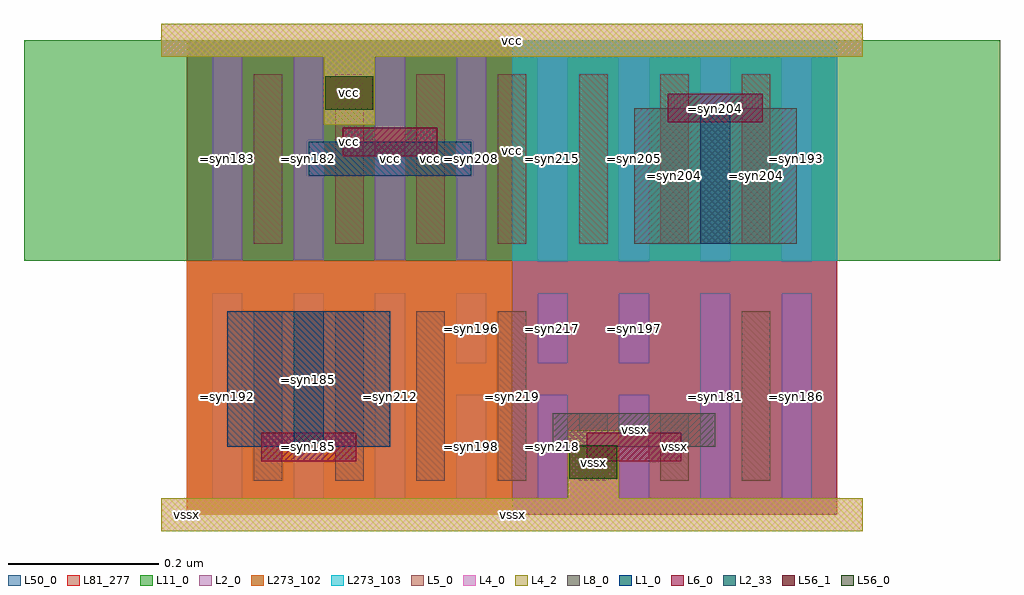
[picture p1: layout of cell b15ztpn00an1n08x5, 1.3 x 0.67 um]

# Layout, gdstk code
import gdstk
lib = gdstk.Library(unit=1e-6, precision=5e-10)
def R(c, l, rs):  # rectangles x0, y0, x1, y1
    for r in rs: c.add(gdstk.rectangle(r[:2], r[2:], *l))
def A(c, l, x, y, w, h, nx, ny, dx, dy):  # array of equal rectangles
    R(c, l, [(x+i*dx, y+j*dy, x+i*dx+w, y+j*dy+h) for i in range(nx) for j in range(ny)])
def P(c, l, *ps):  # polygons
    for p in ps: c.add(gdstk.Polygon(p, *l))
L1_0 = (1, 0)
L2_0 = (2, 0)
L2_33 = (2, 33)
L4_0 = (4, 0)
L4_2 = (4, 2)
L5_0 = (5, 0)
L6_0 = (6, 0)
L8_0 = (8, 0)
L11_0 = (11, 0)
L50_0 = (50, 0)
L56_0 = (56, 0)
L56_1 = (56, 1)
L81_277 = (81, 277)
L273_102 = (273, 102)
L273_103 = (273, 103)

b15ztpn00an1n08x5 = lib.new_cell('b15ztpn00an1n08x5')
R(b15ztpn00an1n08x5, L1_0, [(0.054,0.09,0.27,0.27), (0.162,0.45,0.378,0.495)])
A(b15ztpn00an1n08x5, L2_0, 0.034, 0.021, 0.04, 0.273, 3, 1, 0.108, 0)
A(b15ztpn00an1n08x5, L2_0, 0.358, 0.021, 0.04, 0.138, 3, 1, 0.108, 0)
A(b15ztpn00an1n08x5, L2_0, 0.358, 0.201, 0.04, 0.093, 3, 1, 0.108, 0)
A(b15ztpn00an1n08x5, L2_0, 0.034, 0.336, 0.04, 0.273, 8, 1, 0.108, 0)
R(b15ztpn00an1n08x5, L2_0, [(0.682,0.021,0.722,0.294), (0.79,0.021,0.83,0.294)])
R(b15ztpn00an1n08x5, L2_33, [(0.142,0.09,0.182,0.27), (0.682,0.36,0.722,0.54)])
P(b15ztpn00an1n08x5, L4_0, [(0.898,0.608),(0.25,0.608),(0.25,0.518),(0.182,0.518),(0.182,0.608),(-0.034,0.608),(-0.034,0.652),(0.898,0.652)],
  [(0.898,-0.022),(-0.034,-0.022),(-0.034,0.022),(0.506,0.022),(0.506,0.112),(0.574,0.112),(0.574,0.022),(0.898,0.022)])
P(b15ztpn00an1n08x5, L4_2, [(0.898,0.608),(0.25,0.608),(0.25,0.518),(0.182,0.518),(0.182,0.608),(-0.034,0.608),(-0.034,0.652),(0.898,0.652)],
  [(0.898,-0.022),(-0.034,-0.022),(-0.034,0.022),(0.506,0.022),(0.506,0.112),(0.574,0.112),(0.574,0.022),(0.898,0.022)])
A(b15ztpn00an1n08x5, L5_0, 0.089, 0.045, 0.038, 0.225, 4, 1, 0.108, 0)
A(b15ztpn00an1n08x5, L5_0, 0.089, 0.36, 0.038, 0.225, 7, 1, 0.108, 0)
R(b15ztpn00an1n08x5, L5_0, [(0.521,0.045,0.559,0.135), (0.629,0.045,0.667,0.135), (0.737,0.045,0.775,0.27)])
R(b15ztpn00an1n08x5, L6_0, [(0.099,0.071,0.225,0.109), (0.531,0.071,0.657,0.109), (0.207,0.476,0.333,0.514), (0.639,0.521,0.765,0.559)])
R(b15ztpn00an1n08x5, L8_0, [(0.486,0.09,0.702,0.135), (0.594,0.36,0.81,0.54)])
R(b15ztpn00an1n08x5, L11_0, [(-0.216,0.3375,1.08,0.63)])
R(b15ztpn00an1n08x5, L50_0, [(0,0,0.864,0.63)])
R(b15ztpn00an1n08x5, L56_0, [(0.508,0.048,0.572,0.092), (0.184,0.538,0.248,0.582)])
R(b15ztpn00an1n08x5, L56_1, [(0.508,0.048,0.572,0.092), (0.184,0.538,0.248,0.582)])
R(b15ztpn00an1n08x5, L81_277, [(0,0,0.864,0.63)])
R(b15ztpn00an1n08x5, L273_102, [(0,0,0.432,0.3375)])
R(b15ztpn00an1n08x5, L273_103, [(0.432,0.3375,0.864,0.63)])
b15ztpn00an1n08x5.add(gdstk.Label('vssx', (0,0), layer=81, texttype=6))
b15ztpn00an1n08x5.add(gdstk.Label('vcc', (0.216,0.56), layer=56, texttype=1))
b15ztpn00an1n08x5.add(gdstk.Label('vssx', (0.54,0.07), layer=56, texttype=1))
b15ztpn00an1n08x5.add(gdstk.Label('vcc', (0.432,0.484), layer=11, texttype=0))
b15ztpn00an1n08x5.add(gdstk.Label('=syn204', (0.756,0.45), layer=8, texttype=0))
b15ztpn00an1n08x5.add(gdstk.Label('vcc', (0.432,0.63), layer=4, texttype=0))
b15ztpn00an1n08x5.add(gdstk.Label('vssx', (0.432,0), layer=4, texttype=0))
b15ztpn00an1n08x5.add(gdstk.Label('vcc', (0.216,0.563), layer=4, texttype=2))
b15ztpn00an1n08x5.add(gdstk.Label('vssx', (0.54,0.067), layer=4, texttype=2))
b15ztpn00an1n08x5.add(gdstk.Label('=syn183', (0.054,0.4725), layer=2, texttype=0))
b15ztpn00an1n08x5.add(gdstk.Label('=syn192', (0.054,0.1575), layer=2, texttype=0))
b15ztpn00an1n08x5.add(gdstk.Label('=syn182', (0.162,0.4725), layer=2, texttype=0))
b15ztpn00an1n08x5.add(gdstk.Label('=syn185', (0.162,0.18), layer=2, texttype=0))
b15ztpn00an1n08x5.add(gdstk.Label('vcc', (0.27,0.4725), layer=2, texttype=0))
b15ztpn00an1n08x5.add(gdstk.Label('=syn212', (0.27,0.1575), layer=2, texttype=0))
b15ztpn00an1n08x5.add(gdstk.Label('=syn208', (0.378,0.4725), layer=2, texttype=0))
b15ztpn00an1n08x5.add(gdstk.Label('=syn196', (0.378,0.2475), layer=2, texttype=0))
b15ztpn00an1n08x5.add(gdstk.Label('=syn198', (0.378,0.09), layer=2, texttype=0))
b15ztpn00an1n08x5.add(gdstk.Label('=syn215', (0.486,0.4725), layer=2, texttype=0))
b15ztpn00an1n08x5.add(gdstk.Label('=syn217', (0.486,0.2475), layer=2, texttype=0))
b15ztpn00an1n08x5.add(gdstk.Label('=syn218', (0.486,0.09), layer=2, texttype=0))
b15ztpn00an1n08x5.add(gdstk.Label('=syn205', (0.594,0.4725), layer=2, texttype=0))
b15ztpn00an1n08x5.add(gdstk.Label('=syn197', (0.594,0.2475), layer=2, texttype=0))
b15ztpn00an1n08x5.add(gdstk.Label('vssx', (0.594,0.1125), layer=2, texttype=0))
b15ztpn00an1n08x5.add(gdstk.Label('=syn204', (0.702,0.45), layer=2, texttype=0))
b15ztpn00an1n08x5.add(gdstk.Label('=syn181', (0.702,0.1575), layer=2, texttype=0))
b15ztpn00an1n08x5.add(gdstk.Label('=syn193', (0.81,0.4725), layer=2, texttype=0))
b15ztpn00an1n08x5.add(gdstk.Label('=syn186', (0.81,0.1575), layer=2, texttype=0))
b15ztpn00an1n08x5.add(gdstk.Label('=syn185', (0.216,0.18), layer=1, texttype=0))
b15ztpn00an1n08x5.add(gdstk.Label('=syn185', (0.162,0.09), layer=6, texttype=0))
b15ztpn00an1n08x5.add(gdstk.Label('vcc', (0.216,0.495), layer=6, texttype=0))
b15ztpn00an1n08x5.add(gdstk.Label('vssx', (0.54,0.09), layer=6, texttype=0))
b15ztpn00an1n08x5.add(gdstk.Label('=syn204', (0.702,0.54), layer=6, texttype=0))
b15ztpn00an1n08x5.add(gdstk.Label('=syn187', (0.108,0.4725), layer=5, texttype=0))
b15ztpn00an1n08x5.add(gdstk.Label('=syn185', (0.108,0.18), layer=5, texttype=0))
b15ztpn00an1n08x5.add(gdstk.Label('vcc', (0.216,0.495), layer=5, texttype=0))
b15ztpn00an1n08x5.add(gdstk.Label('=syn185', (0.216,0.18), layer=5, texttype=0))
b15ztpn00an1n08x5.add(gdstk.Label('vcc', (0.324,0.4725), layer=5, texttype=0))
b15ztpn00an1n08x5.add(gdstk.Label('=syn213', (0.324,0.1575), layer=5, texttype=0))
b15ztpn00an1n08x5.add(gdstk.Label('=syn216', (0.432,0.4725), layer=5, texttype=0))
b15ztpn00an1n08x5.add(gdstk.Label('=syn219', (0.432,0.1575), layer=5, texttype=0))
b15ztpn00an1n08x5.add(gdstk.Label('=syn210', (0.54,0.4725), layer=5, texttype=0))
b15ztpn00an1n08x5.add(gdstk.Label('vssx', (0.54,0.09), layer=5, texttype=0))
b15ztpn00an1n08x5.add(gdstk.Label('=syn204', (0.648,0.45), layer=5, texttype=0))
b15ztpn00an1n08x5.add(gdstk.Label('vssx', (0.648,0.09), layer=5, texttype=0))
b15ztpn00an1n08x5.add(gdstk.Label('=syn204', (0.756,0.45), layer=5, texttype=0))
b15ztpn00an1n08x5.add(gdstk.Label('=syn207', (0.756,0.1575), layer=5, texttype=0))

lib.write_gds('b15ztpn00an1n08x5.gds')
